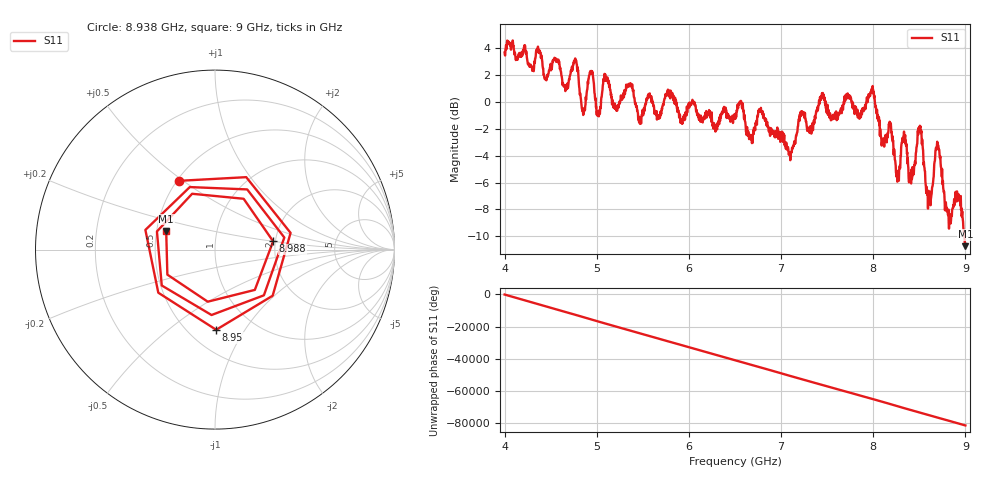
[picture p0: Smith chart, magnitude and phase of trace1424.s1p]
! Created with skrf 1.8.0 (http://scikit-rf.org).
# Hz S RI R 50.0
!freq ReS11 ImS11
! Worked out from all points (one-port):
!   1601 points, 4 GHz to 9 GHz, reference 50 ohm
!   lowest |S11| = -10.7 dB at 9 GHz (marker M1), VSWR 1.82, Z = 28.1 + j6.34 ohm
!   |S11| at or under -10 dB: 8.990868 GHz to end of sweep
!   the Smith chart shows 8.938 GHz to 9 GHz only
!   S11 on the Smith chart (normalised r, x): 8.938 GHz: 0.51, +0.48; 8.95 GHz: 0.67, -0.75; 8.988 GHz: 1.94, +0.20; 9 GHz: 0.56, +0.13
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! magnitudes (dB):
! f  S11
! 4 GHz  3.7
! 4.625 GHz  1.6
! 4.772 GHz  3.1
! 4.853 GHz  -1.0
! 4.934 GHz  2.2
! 5.016 GHz  -0.9
! 5.094 GHz  1.8
! 5.25 GHz  -0.1
! 5.875 GHz  -0.8
! 6.5 GHz  -1.2
! 7.125 GHz  -3.5
! 7.222 GHz  -0.7
! 7.75 GHz  0.4
! 7.988 GHz  0.8
! 8.106 GHz  -3.0
! 8.191 GHz  -1.6
! 8.259 GHz  -5.5
! 8.328 GHz  -2.5
! 8.375 GHz  -4.2
! 8.416 GHz  -5.0
! 8.506 GHz  -1.8
! 8.6 GHz  -6.6
! 8.697 GHz  -3.3
! 8.819 GHz  -9.0
! 8.938 GHz  -7.3
! 8.95 GHz  -7.0
! 8.988 GHz  -9.7
! 9 GHz  -10.7
